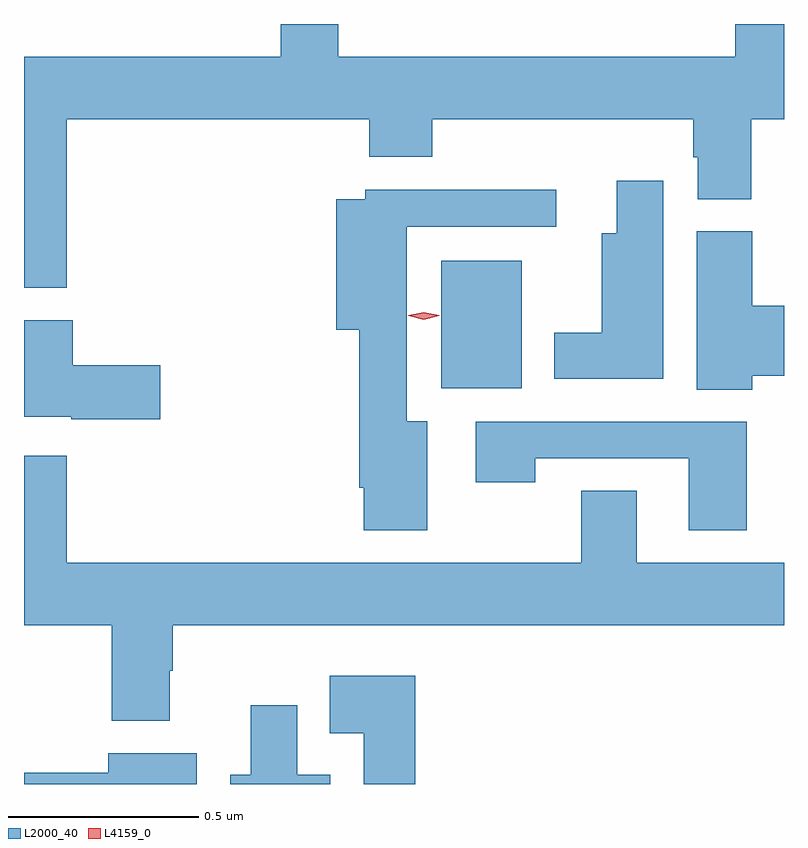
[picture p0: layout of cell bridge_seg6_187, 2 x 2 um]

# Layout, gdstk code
import gdstk
lib = gdstk.Library(unit=1e-6, precision=1e-09)
def R(c, l, rs):  # rectangles x0, y0, x1, y1
    for r in rs: c.add(gdstk.rectangle(r[:2], r[2:], *l))
def P(c, l, *ps):  # polygons
    for p in ps: c.add(gdstk.Polygon(p, *l))
L2000_40 = (2000, 40)
L4159_0 = (4159, 0)

bridge_seg6_187 = lib.new_cell('bridge_seg6_187')
R(bridge_seg6_187, L2000_40, [(338.948,929.312,339.16,929.647)])
P(bridge_seg6_187, L2000_40, [(337.963,930.02),(338.759,930.02),(338.759,929.921),(338.924,929.921),(338.924,930.02),(339.611,930.02),(339.611,929.919),(339.623,929.919),(339.623,929.809),(339.764,929.809),(339.764,930.02),(339.85,930.02),(339.85,930.27),(339.722,930.27),(339.722,930.184),(338.677,930.184),(338.677,930.27),(338.525,930.27),(338.525,930.184),(337.85,930.184),(337.85,929.576),(337.963,929.576)],
  [(339.532,929.857),(339.41,929.857),(339.41,929.719),(339.371,929.719),(339.371,929.458),(339.245,929.458),(339.245,929.336),(339.532,929.336)],
  [(338.911,929.224),(338.857,929.224),(338.857,929.736),(339.25,929.736),(339.25,929.834),(338.748,929.834),(338.748,929.809),(338.672,929.809),(338.672,929.465),(338.732,929.465),(338.732,929.05),(338.744,929.05),(338.744,928.938),(338.911,928.938)],
  [(339.767,929.345),(339.85,929.345),(339.85,929.528),(339.767,929.528),(339.767,929.724),(339.62,929.724),(339.62,929.308),(339.767,929.308)],
  [(338.209,929.372),(337.978,929.372),(337.978,929.491),(337.85,929.491),(337.85,929.237),(337.974,929.237),(337.974,929.23),(338.209,929.23)],
  [(339.752,929.223),(339.039,929.223),(339.039,929.064),(339.195,929.064),(339.195,929.127),(339.599,929.127),(339.599,928.938),(339.752,928.938)],
  [(338.233,928.568),(338.241,928.568),(338.241,928.688),(339.85,928.688),(339.85,928.852),(339.463,928.852),(339.463,929.042),(339.316,929.042),(339.316,928.852),(337.963,928.852),(337.963,929.134),(337.85,929.134),(337.85,928.688),(338.081,928.688),(338.081,928.436),(338.233,928.436)],
  [(338.879,928.555),(338.654,928.555),(338.654,928.403),(338.744,928.403),(338.744,928.27),(338.879,928.27)],
  [(338.656,928.294),(338.569,928.294),(338.569,928.477),(338.447,928.477),(338.447,928.294),(338.393,928.294),(338.393,928.27),(338.656,928.27)],
  [(338.305,928.351),(338.072,928.351),(338.072,928.3),(337.85,928.3),(337.85,928.27),(338.305,928.27)])
P(bridge_seg6_187, L4159_0, [(338.902,929.492),(338.861,929.502),(338.861,929.502),(338.861,929.503),(338.902,929.512),(338.943,929.503),(338.943,929.502),(338.943,929.502)])

lib.write_gds('bridge_seg6_187.gds')
